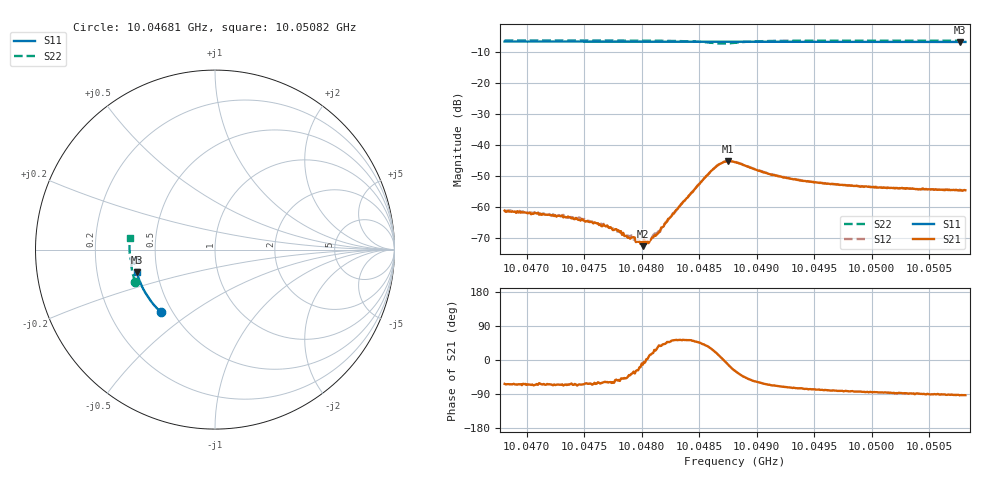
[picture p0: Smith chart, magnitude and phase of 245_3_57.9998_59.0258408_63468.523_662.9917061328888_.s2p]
#  HZ  S  RI  R  50.00
! Rohde & Schwarz Vector Network Analyzer
! Rohde-Schwarz,ZNB20-2Port,1311601062101988,3.16
! Created: UTC 3/21/2024, 1:01:14 AM
! freq[Hz]  re:S11  im:S11  re:S21  im:S21  re:S12  im:S12  re:S22  im:S22
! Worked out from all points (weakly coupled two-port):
!   401 points, 10.04681 GHz to 10.05082 GHz, reference 50 ohm
!   highest |S21| = -45.18 dB at 10.04875 GHz (marker M1); lowest = -72.5 dB at 10.04801 GHz (marker M2)
!   lowest |S11| = -6.9 dB at 10.05077 GHz (marker M3), VSWR 2.66, Z = 19.1 - j6.13 ohm
!   |S11| at or under -10 dB: nowhere
!   |S22| runs from -7.4 to -6.4 dB; largest |S21 - S12| = 0.00039
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1.0046808e10  -0.3024 -0.3477  0.000402 -0.000789  0.000434 -0.000773  -0.443 -0.1832
1.0047289e10  -0.325 -0.3251  0.000302 -0.000663  0.000343 -0.000642  -0.4538 -0.152
1.0047479e10  -0.3334 -0.3159  0.00028 -0.00059  0.000317 -0.000547  -0.4574 -0.1391
1.004769e10  -0.3426 -0.3053  0.000258 -0.00042  0.000288 -0.000416  -0.4609 -0.1245
1.00478e10  -0.3471 -0.2997  0.000258 -0.00034  0.000296 -0.000299  -0.4621 -0.1164
1.004788e10  -0.3505 -0.2955  0.000232 -0.000225  0.000271 -0.000225  -0.4633 -0.1103
1.004792e10  -0.3521 -0.2935  0.00027 -0.000189  0.000283 -0.000173  -0.4637 -0.1073
1.004797e10  -0.3542 -0.2908  0.00025 -0.000126  0.000278 -0.000112  -0.4642 -0.1033
1.004801e10  -0.3558 -0.2887  0.000232 -4.94e-05  0.000262 -7.91e-06  -0.4645 -0.1002
1.0048061e10  -0.3578 -0.286  0.000264 3.59e-05  0.000285 6.79e-05  -0.4649 -0.0962
1.0048101e10  -0.3595 -0.284  0.000314 0.000105  0.000329 0.000147  -0.4649 -0.0928
1.0048151e10  -0.3614 -0.2813  0.000308 0.000247  0.000334 0.000251  -0.465 -0.0885
1.0048341e10  -0.3686 -0.2711  0.00067 0.000884  0.000613 0.000943  -0.4631 -0.0707
1.0048572e10  -0.3769 -0.2582  0.00263 0.00196  0.00254 0.00213  -0.444 -0.0484
1.0048672e10  -0.3801 -0.2528  0.00475 0.00105  0.00473 0.00134  -0.4259 -0.0536
1.0048752e10  -0.383 -0.2485  0.00539 -0.00114  0.00545 -0.000846  -0.4233 -0.0708
1.0048812e10  -0.3849 -0.2452  0.00467 -0.00259  0.00486 -0.00234  -0.4326 -0.0794
1.0049123e10  -0.3954 -0.2276  0.00135 -0.00308  0.00159 -0.00304  -0.4669 -0.0595
1.0049484e10  -0.4063 -0.2063  0.000566 -0.00249  0.000734 -0.00246  -0.4744 -0.0289
1.0050155e10  -0.4233 -0.1655  0.000111 -0.00204  0.000233 -0.00205  -0.4758 0.0199
1.0050767e10  -0.4353 -0.1273  -0.000101 -0.00186  1.63e-05 -0.00193  -0.4721 0.0613
1.0050817e10  -0.4364 -0.1242  -9.38e-05 -0.00188  -8.29e-06 -0.00188  -0.4716 0.0647
